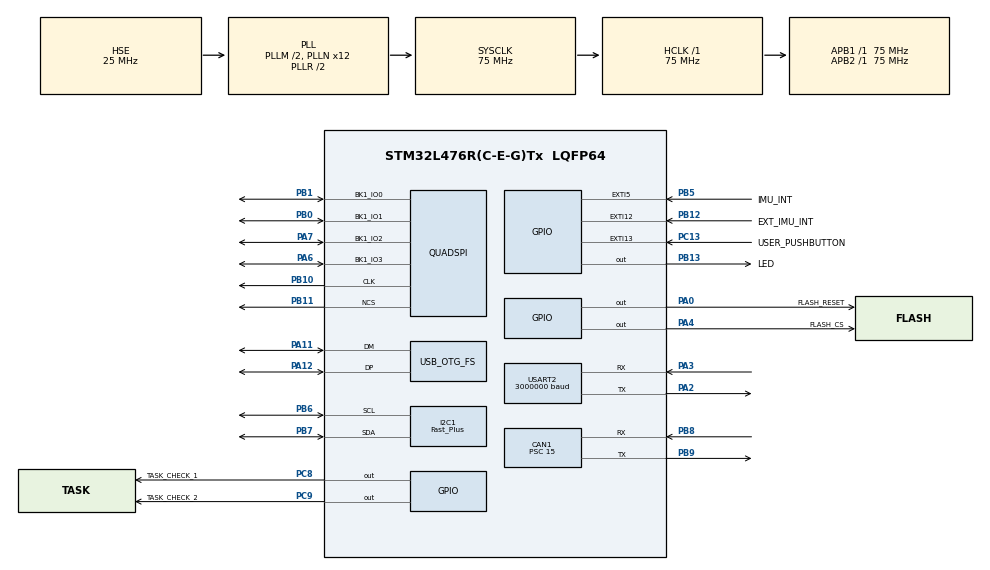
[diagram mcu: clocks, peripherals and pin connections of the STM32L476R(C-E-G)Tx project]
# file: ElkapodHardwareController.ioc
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CAN1.BS1=CAN_BS1_3TQ
CAN1.BS2=CAN_BS2_2TQ
CAN1.CalculateBaudRate=833333
CAN1.CalculateTimeBit=1200
CAN1.CalculateTimeQuantum=200.0
CAN1.Prescaler=15
Dma.I2C1_RX.0.Direction=DMA_PERIPH_TO_MEMORY
Dma.I2C1_RX.0.Instance=DMA2_Channel6
Dma.I2C1_RX.0.MemDataAlignment=DMA_MDATAALIGN_BYTE
Dma.I2C1_RX.0.MemInc=DMA_MINC_DISABLE
Dma.I2C1_RX.0.Mode=DMA_NORMAL
Dma.I2C1_RX.0.PeriphDataAlignment=DMA_PDATAALIGN_BYTE
Dma.I2C1_RX.0.PeriphInc=DMA_PINC_DISABLE
Dma.I2C1_RX.0.Priority=DMA_PRIORITY_VERY_HIGH
Dma.I2C1_TX.1.Direction=DMA_MEMORY_TO_PERIPH
Dma.I2C1_TX.1.Instance=DMA2_Channel7
Dma.I2C1_TX.1.MemDataAlignment=DMA_MDATAALIGN_BYTE
Dma.I2C1_TX.1.MemInc=DMA_MINC_DISABLE
Dma.I2C1_TX.1.Mode=DMA_NORMAL
Dma.I2C1_TX.1.PeriphDataAlignment=DMA_PDATAALIGN_BYTE
Dma.I2C1_TX.1.PeriphInc=DMA_PINC_DISABLE
Dma.I2C1_TX.1.Priority=DMA_PRIORITY_VERY_HIGH
Dma.Request0=I2C1_RX
Dma.Request1=I2C1_TX
Dma.Request2=USART2_RX
Dma.Request3=USART2_TX
Dma.USART2_RX.2.Direction=DMA_PERIPH_TO_MEMORY
Dma.USART2_RX.2.Instance=DMA1_Channel6
Dma.USART2_RX.2.MemDataAlignment=DMA_MDATAALIGN_BYTE
Dma.USART2_RX.2.MemInc=DMA_MINC_ENABLE
Dma.USART2_RX.2.Mode=DMA_NORMAL
Dma.USART2_RX.2.PeriphDataAlignment=DMA_PDATAALIGN_BYTE
Dma.USART2_RX.2.PeriphInc=DMA_PINC_DISABLE
Dma.USART2_RX.2.Priority=DMA_PRIORITY_VERY_HIGH
Dma.USART2_TX.3.Direction=DMA_MEMORY_TO_PERIPH
Dma.USART2_TX.3.Instance=DMA1_Channel7
Dma.USART2_TX.3.MemDataAlignment=DMA_MDATAALIGN_BYTE
Dma.USART2_TX.3.MemInc=DMA_MINC_ENABLE
Dma.USART2_TX.3.Mode=DMA_NORMAL
Dma.USART2_TX.3.PeriphDataAlignment=DMA_PDATAALIGN_BYTE
Dma.USART2_TX.3.PeriphInc=DMA_PINC_DISABLE
Dma.USART2_TX.3.Priority=DMA_PRIORITY_VERY_HIGH
FREERTOS.Tasks01=defaultTask,24,256,StartDefaultTask,Default,NULL,Dynamic,NULL,NULL;IMU,32,512,imu_task,As external,&handle,Dynamic,NULL,NULL
FREERTOS.configCHECK_FOR_STACK_OVERFLOW=2
FREERTOS.configENABLE_FPU=1
FREERTOS.configTOTAL_HEAP_SIZE=10000
FREERTOS.configUSE_NEWLIB_REENTRANT=1
I2C1.Analog_Filter=I2C_ANALOGFILTER_DISABLE
I2C1.I2C_Speed_Mode=I2C_Fast_Plus
I2C1.Timing=0x00B11224
Mcu.Family=STM32L4
Mcu.Name=STM32L476R(C-E-G)Tx
Mcu.Package=LQFP64
NVIC.CAN1_RX0_IRQn=true\:5\:0\:false\:false\:true\:true\:true\:true\:true
NVIC.CAN1_RX1_IRQn=true\:5\:0\:false\:false\:true\:true\:true\:true\:true
NVIC.CAN1_TX_IRQn=true\:5\:0\:false\:false\:true\:true\:true\:true\:true
NVIC.DMA1_Channel6_IRQn=true\:5\:0\:false\:false\:true\:true\:false\:true\:true
NVIC.DMA1_Channel7_IRQn=true\:5\:0\:false\:false\:true\:true\:false\:true\:true
NVIC.DMA2_Channel6_IRQn=true\:5\:0\:false\:false\:true\:true\:false\:true\:true
NVIC.DMA2_Channel7_IRQn=true\:5\:0\:false\:false\:true\:true\:false\:true\:true
NVIC.EXTI15_10_IRQn=true\:8\:0\:true\:false\:true\:true\:true\:true\:true
NVIC.EXTI9_5_IRQn=true\:8\:0\:true\:false\:true\:true\:true\:true\:true
NVIC.I2C1_ER_IRQn=true\:7\:0\:true\:false\:true\:true\:true\:true\:true
NVIC.I2C1_EV_IRQn=true\:7\:0\:true\:false\:true\:true\:true\:true\:true
NVIC.OTG_FS_IRQn=true\:5\:0\:false\:false\:true\:true\:false\:true\:true
NVIC.PriorityGroup=NVIC_PRIORITYGROUP_4
NVIC.TIM1_TRG_COM_TIM17_IRQn=true\:5\:0\:false\:false\:true\:true\:true\:true\:true
NVIC.TIM1_UP_TIM16_IRQn=true\:15\:0\:false\:false\:true\:false\:false\:true\:true
NVIC.TimeBase=TIM1_UP_TIM16_IRQn
NVIC.TimeBaseIP=TIM1
NVIC.USART2_IRQn=true\:5\:0\:false\:false\:true\:true\:true\:true\:true
PA0.GPIO_Label=FLASH_RESET
PA0.Signal=GPIO_Output
PA11.Mode=Device_Only
PA11.Signal=USB_OTG_FS_DM
PA12.Mode=Device_Only
PA12.Signal=USB_OTG_FS_DP
PA13\ (JTMS-SWDIO).Mode=Serial_Wire
PA13\ (JTMS-SWDIO).Signal=SYS_JTMS-SWDIO
PA14\ (JTCK-SWCLK).Mode=Serial_Wire
PA14\ (JTCK-SWCLK).Signal=SYS_JTCK-SWCLK
PA2.Mode=Asynchronous
PA2.Signal=USART2_TX
PA3.GPIO_PuPd=GPIO_PULLUP
PA3.Mode=Asynchronous
PA3.Signal=USART2_RX
PA4.GPIO_Label=FLASH_CS
PA4.Signal=GPIO_Output
PA6.Mode=Single Bank
PA6.Signal=QUADSPI_BK1_IO3
PA7.Mode=Single Bank
PA7.Signal=QUADSPI_BK1_IO2
PB0.Mode=Single Bank
PB0.Signal=QUADSPI_BK1_IO1
PB1.Mode=Single Bank
PB1.Signal=QUADSPI_BK1_IO0
PB10.Mode=Single Bank
PB10.Signal=QUADSPI_CLK
PB11.Mode=Single Bank
PB11.Signal=QUADSPI_NCS
PB12.GPIO_Label=EXT_IMU_INT
PB12.Signal=GPXTI12
PB13.GPIO_Label=LED
PB13.Signal=GPIO_Output
PB5.GPIO_Label=IMU_INT
PB5.Signal=GPXTI5
PB6.Mode=I2C
PB6.Signal=I2C1_SCL
PB7.Mode=I2C
PB7.Signal=I2C1_SDA
PB8.Mode=CAN_Activate
PB8.Signal=CAN1_RX
PB9.Mode=CAN_Activate
PB9.Signal=CAN1_TX
PC13.GPIO_Label=USER_PUSHBUTTON
PC13.Signal=GPXTI13
PC14-OSC32_IN\ (PC14).Mode=LSE-External-Oscillator
PC14-OSC32_IN\ (PC14).Signal=RCC_OSC32_IN
PC15-OSC32_OUT\ (PC15).Mode=LSE-External-Oscillator
PC15-OSC32_OUT\ (PC15).Signal=RCC_OSC32_OUT
PC8.GPIO_Label=TASK_CHECK_1
PC8.Signal=GPIO_Output
PC9.GPIO_Label=TASK_CHECK_2
PC9.Signal=GPIO_Output
PH0-OSC_IN\ (PH0).Mode=HSE-External-Oscillator
PH0-OSC_IN\ (PH0).Signal=RCC_OSC_IN
PH1-OSC_OUT\ (PH1).Mode=HSE-External-Oscillator
PH1-OSC_OUT\ (PH1).Signal=RCC_OSC_OUT
ProjectManager.HeapSize=0x200
ProjectManager.StackSize=0x400
ProjectManager.TargetToolchain=STM32CubeIDE
RCC.ADCFreq_Value=143750000
RCC.AHBFreq_Value=75000000
RCC.APB1Freq_Value=75000000
RCC.APB1TimFreq_Value=75000000
RCC.APB2Freq_Value=75000000
RCC.APB2TimFreq_Value=75000000
RCC.CortexFreq_Value=75000000
RCC.HCLKFreq_Value=75000000
RCC.HSE_VALUE=25000000
RCC.HSI_VALUE=16000000
RCC.MSI_VALUE=4000000
RCC.PLLM=2
RCC.PLLN=12
RCC.PLLSAI1N=23
RCC.PLLSAI1Q=RCC_PLLQ_DIV6
RCC.PLLSourceVirtual=RCC_PLLSOURCE_HSE
RCC.SYSCLKFreq_VALUE=75000000
RCC.SYSCLKSource=RCC_SYSCLKSOURCE_PLLCLK
RCC.USBFreq_Value=47916666.666666664
RCC.VCOOutputFreq_Value=150000000
TIM17.Period=7498
USART2.BaudRate=3000000
USART2.VirtualMode-Asynchronous=VM_ASYNC
USB_DEVICE.CLASS_NAME_FS=CDC
USB_DEVICE.VirtualMode=Cdc
USB_DEVICE.VirtualModeFS=Cdc_FS
USB_OTG_FS.VirtualMode=Device_Only
VP_FREERTOS_VS_CMSIS_V2.Mode=CMSIS_V2
VP_SYS_VS_tim1.Mode=TIM1
VP_TIM17_VS_ClockSourceINT.Mode=Enable_Timer
VP_USB_DEVICE_VS_USB_DEVICE_CDC_FS.Mode=CDC_FS
board=custom

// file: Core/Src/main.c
/* USER CODE BEGIN Header */
/**
  ******************************************************************************
  * @file           : main.c
  * @brief          : Main program body
  ******************************************************************************
  * @attention
  *
  * Copyright (c) 2024 STMicroelectronics.
  * All rights reserved.
  *
  * This software is licensed under terms that can be found in the LICENSE file
  * in the root directory of this software component.
  * If no LICENSE file comes with this software, it is provided AS-IS.
  *
  ******************************************************************************
  */
/* USER CODE END Header */
#include "main.h"
#include "cmsis_os.h"
#include "can.h"
#include "dma.h"
#include "i2c.h"
#include "quadspi.h"
#include "tim.h"
#include "usart.h"
#include "usb_device.h"
#include "gpio.h"

/* USER CODE BEGIN Includes */
#include "usbd_cdc_if.h"
/* USER CODE END Includes */

void SystemClock_Config(void);
void MX_FREERTOS_Init(void);

int main(void)
{

  /* MCU Configuration--------------------------------------------------------*/

  /* Reset of all peripherals, Initializes the Flash interface and the Systick. */
  HAL_Init();

  /* Configure the system clock */
  SystemClock_Config();

  /* Initialize all configured peripherals */
  MX_GPIO_Init();
  MX_DMA_Init();
  MX_I2C1_Init();
  MX_CAN1_Init();
  MX_QUADSPI_Init();
  MX_USART2_UART_Init();
  MX_TIM17_Init();

  /* Init scheduler */
  osKernelInitialize();

  /* Call init function for freertos objects (in cmsis_os2.c) */
  MX_FREERTOS_Init();

  /* Start scheduler */
  osKernelStart();

  /* We should never get here as control is now taken by the scheduler */

  /* Infinite loop */
  while (1)
  {

  }
}

void SystemClock_Config(void)
{
  RCC_OscInitTypeDef RCC_OscInitStruct = {0};
  RCC_ClkInitTypeDef RCC_ClkInitStruct = {0};

  /** Configure the main internal regulator output voltage
  */
  if (HAL_PWREx_ControlVoltageScaling(PWR_REGULATOR_VOLTAGE_SCALE1) != HAL_OK)
  {
    Error_Handler();
  }

  /** Initializes the RCC Oscillators according to the specified parameters
  * in the RCC_OscInitTypeDef structure.
  */
  RCC_OscInitStruct.OscillatorType = RCC_OSCILLATORTYPE_HSE;
  RCC_OscInitStruct.HSEState = RCC_HSE_ON;
  RCC_OscInitStruct.PLL.PLLState = RCC_PLL_ON;
  RCC_OscInitStruct.PLL.PLLSource = RCC_PLLSOURCE_HSE;
  RCC_OscInitStruct.PLL.PLLM = 2;
  RCC_OscInitStruct.PLL.PLLN = 12;
  RCC_OscInitStruct.PLL.PLLP = RCC_PLLP_DIV7;
  RCC_OscInitStruct.PLL.PLLQ = RCC_PLLQ_DIV2;
  RCC_OscInitStruct.PLL.PLLR = RCC_PLLR_DIV2;
  if (HAL_RCC_OscConfig(&RCC_OscInitStruct) != HAL_OK)
  {
    Error_Handler();
  }

  /** Initializes the CPU, AHB and APB buses clocks
  */
  RCC_ClkInitStruct.ClockType = RCC_CLOCKTYPE_HCLK|RCC_CLOCKTYPE_SYSCLK
                              |RCC_CLOCKTYPE_PCLK1|RCC_CLOCKTYPE_PCLK2;
  RCC_ClkInitStruct.SYSCLKSource = RCC_SYSCLKSOURCE_PLLCLK;
  RCC_ClkInitStruct.AHBCLKDivider = RCC_SYSCLK_DIV1;
  RCC_ClkInitStruct.APB1CLKDivider = RCC_HCLK_DIV1;
  RCC_ClkInitStruct.APB2CLKDivider = RCC_HCLK_DIV1;

  if (HAL_RCC_ClockConfig(&RCC_ClkInitStruct, FLASH_LATENCY_4) != HAL_OK)
  {
    Error_Handler();
  }
}

void HAL_TIM_PeriodElapsedCallback(TIM_HandleTypeDef *htim)
{
  /* USER CODE BEGIN Callback 0 */
//
  /* USER CODE END Callback 0 */
  if (htim->Instance == TIM1) {
    HAL_IncTick();
  }
  /* USER CODE BEGIN Callback 1 */
//
  /* USER CODE END Callback 1 */
}

void Error_Handler(void)
{
  __disable_irq();
  while (1)
  {
  }
}

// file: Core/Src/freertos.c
/* USER CODE BEGIN Header */
/**
 ******************************************************************************
 * File Name          : freertos.c
 * Description        : Code for freertos applications
 ******************************************************************************
 * @attention
 *
 * Copyright (c) 2024 STMicroelectronics.
 * All rights reserved.
 *
 * This software is licensed under terms that can be found in the LICENSE file
 * in the root directory of this software component.
 * If no LICENSE file comes with this software, it is provided AS-IS.
 *
 ******************************************************************************
 */
/* USER CODE END Header */

#include "FreeRTOS.h"
#include "task.h"
#include "main.h"
#include "cmsis_os.h"

/* USER CODE BEGIN Includes */

#include "icm20948.h"
#include "math.h"
#include "stdio.h"
#include "string.h"
#include "usbd_cdc_if.h"

#include "imu_kalman_filter_task.hpp"
#include "timers.h"

#include "can.h"
#include "usart.h"

/* USER CODE END Includes */

/* USER CODE BEGIN Variables */

uint8_t UART_RX_buffer[20];

uint8_t can_test_data[2] = {21, 87};
ICM20948_DATA data;
volatile float euler_angles[4] = {0, 0, 0, 0};

TimerHandle_t my_timer;
IMU_HANDLE handle = {
    .data = &data,
    .euler_angles = euler_angles,
};

/* USER CODE END Variables */
/* Definitions for defaultTask */
osThreadId_t defaultTaskHandle;
const osThreadAttr_t defaultTask_attributes = {
  .name = "defaultTask",
  .stack_size = 256 * 4,
  .priority = (osPriority_t) osPriorityNormal,
};
/* Definitions for IMU */
osThreadId_t IMUHandle;
const osThreadAttr_t IMU_attributes = {
  .name = "IMU",
  .stack_size = 512 * 4,
  .priority = (osPriority_t) osPriorityAboveNormal,
};

/* USER CODE BEGIN FunctionPrototypes */

static uint8_t message[14] = "Hello world!\r\n";

/* Callback when data is fully received (DMA mode) */
void HAL_UART_RxCpltCallback(UART_HandleTypeDef *huart)
{
    if (huart->Instance == USART2)  // Ensure this is the right UART instance
    {
        // Echo the received byte back via UART
        HAL_UART_Transmit(&huart2, UART_RX_buffer, 1, 100);

        // Indicate data reception by toggling the onboard LED
        HAL_GPIO_TogglePin(LED_GPIO_Port, LED_Pin);

        // Restart the DMA reception to continue receiving data
        HAL_UART_Receive_DMA(&huart2, UART_RX_buffer, 1);
    }
}

void HAL_UART_ErrorCallback(UART_HandleTypeDef *huart)
{
    if (huart->Instance == USART2)
    {

    }
}

int _write(int file, char *ptr, int len) {
    static uint8_t rc = USBD_OK;

    do {
        rc = CDC_Transmit_FS(ptr, len);
    } while (USBD_BUSY == rc);

    if (USBD_FAIL == rc) {
        /// NOTE: Should never reach here.
        /// TODO: Handle this error.
        return 0;
    }
    return len;
}

void imu_update() {
    // Read the data from the IMU sensor and save in into the data variable
    ICM20948_ReadAccelData_DMA(&hi2c1, &data);
    ICM20948_ReadAccelData_DMA_complete(&data);

    // Notify the IMU-Kalman Filter thread that new data have arrived
    BaseType_t xHigherPriorityTaskWoken = pdFALSE;
    vTaskNotifyGiveFromISR(IMUHandle, &xHigherPriorityTaskWoken);
}

void HAL_GPIO_EXTI_Callback(uint16_t GPIO_Pin) {
    if (GPIO_Pin == USER_PUSHBUTTON_Pin) {
        CAN_send_data(0x100, can_test_data);
    }
}

osThreadId_t *getDefaultTaskHandle() {
    return &defaultTaskHandle;
}

/* USER CODE END FunctionPrototypes */

void StartDefaultTask(void *argument);
extern void imu_task(void *argument);

extern void MX_USB_DEVICE_Init(void);
void MX_FREERTOS_Init(void); /* (MISRA C 2004 rule 8.1) */

/* Hook prototypes */
void vApplicationStackOverflowHook(xTaskHandle xTask, signed char *pcTaskName);

/* USER CODE BEGIN 4 */
void vApplicationStackOverflowHook(xTaskHandle xTask, signed char *pcTaskName) {
    /* Run time stack overflow checking is performed if
    configCHECK_FOR_STACK_OVERFLOW is defined to 1 or 2. This hook function is
    called if a stack overflow is detected. */
}
/* USER CODE END 4 */

void MX_FREERTOS_Init(void) {
  /* USER CODE BEGIN Init */
    HAL_CAN_ActivateNotification(&hcan1, CAN_IT_RX_FIFO1_MSG_PENDING);
    HAL_CAN_Start(&hcan1);

    ICM20948_Init(&hi2c1);
    my_timer = xTimerCreate("imu_update", IMU_MEASURE_RATE_MS / portTICK_PERIOD_MS, pdTRUE,
                            (void *)0, imu_update);
    xTimerStart(my_timer, portMAX_DELAY);

  /* USER CODE END Init */

  /* Create the thread(s) */
  /* creation of defaultTask */
  defaultTaskHandle = osThreadNew(StartDefaultTask, NULL, &defaultTask_attributes);

  /* creation of IMU */
  IMUHandle = osThreadNew(imu_task, (void*) &handle, &IMU_attributes);

}

void StartDefaultTask(void *argument)
{
  /* init code for USB_DEVICE */
  MX_USB_DEVICE_Init();
  /* USER CODE BEGIN StartDefaultTask */
     /* Infinite loop */

     uint8_t message[14] = "Hello world!\r\n";
     uint32_t notification_value = 0;

     HAL_UART_Receive_DMA(&huart2, UART_RX_buffer, 1);
     for (;;) {
         printf("Roll: %.02f\tPitch: %.02f\tRollKF: %.02f\tPitchKF: %.02f\r\n", euler_angles[0],
                euler_angles[1], euler_angles[2], euler_angles[3]);
         //HAL_UART_Transmit(&huart2, message, sizeof(message), 100);
         //HAL_UART_Receive(&huart2, UART_RX_buffer, 1, 100);
         osDelay(100);
         xTaskNotifyWait(0x00, 0xffffffff, &notification_value, 10);
         if (notification_value > 0) {
             //HAL_GPIO_TogglePin(LED_GPIO_Port, LED_Pin);
             notification_value = 0;
         }
         // printf("Notification value: %d\r\n", notification_value);
     }
  /* USER CODE END StartDefaultTask */
}
